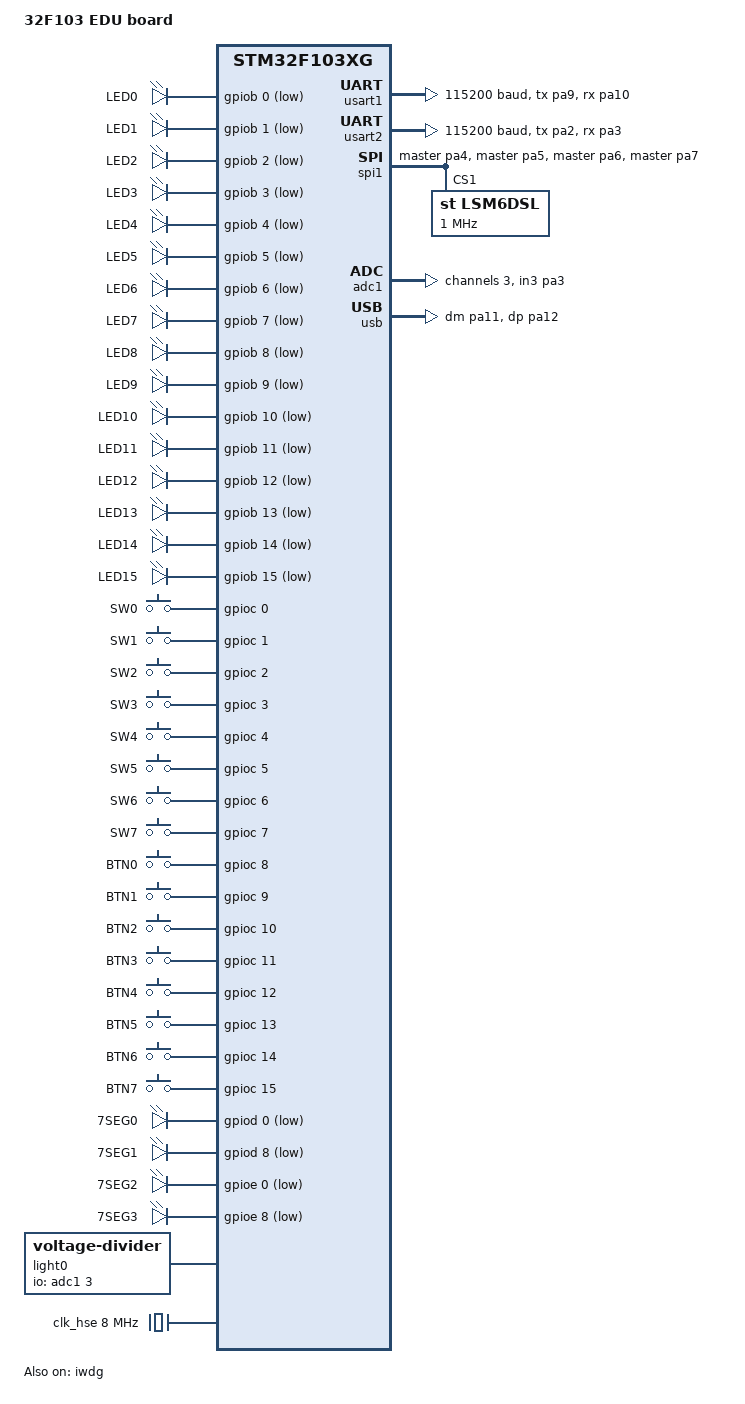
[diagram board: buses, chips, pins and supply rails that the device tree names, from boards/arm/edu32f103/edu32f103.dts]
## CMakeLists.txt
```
cmake_minimum_required(VERSION 3.20.0)

list(APPEND BOARD_ROOT ${CMAKE_CURRENT_SOURCE_DIR})

find_package(Zephyr REQUIRED HINTS $ENV{ZEPHYR_BASE})

project(edu32f103)


target_sources(app PRIVATE src/main.c)
```

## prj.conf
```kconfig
CONFIG_CBPRINTF_FP_SUPPORT=y
CONFIG_LSM6DSL_ENABLE_TEMP=y
CONFIG_THREAD_NAME=y
CONFIG_THREAD_MAX_NAME_LEN=16

CONFIG_THREAD_ANALYZER=y
CONFIG_THREAD_ANALYZER_USE_PRINTK=y
CONFIG_THREAD_ANALYZER_AUTO=y
CONFIG_THREAD_ANALYZER_AUTO_INTERVAL=20
```

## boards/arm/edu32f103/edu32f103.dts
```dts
/*
 * Copyright (c) 2017 Linaro Limited
 *
 * SPDX-License-Identifier: Apache-2.0
 */

/dts-v1/;
#include <st/f1/stm32f103Xg.dtsi>
#include <st/f1/stm32f103v(f-g)tx-pinctrl.dtsi>

/ {
	model = "32F103 EDU board";
	compatible = "edu32f103";

	chosen {
		zephyr,console = &usart1;
		zephyr,shell-uart = &usart1;
		//zephyr,console = &cdc_acm_uart0;
		//zephyr,shell-uart = &cdc_acm_uart0;
		zephyr,sram = &sram0;
		zephyr,flash = &flash0;
	};

	leds {
		compatible = "gpio-leds";
		led0: led_0 {
			gpios = <&gpiob 0 GPIO_ACTIVE_LOW>;
			label = "LED0";
		};
		led1: led_1 {
			gpios = <&gpiob 1 GPIO_ACTIVE_LOW>;
			label = "LED1";
		};
		led2: led_2 {
			gpios = <&gpiob 2 GPIO_ACTIVE_LOW>;
			label = "LED2";
		};
		led3: led_3 {
			gpios = <&gpiob 3 GPIO_ACTIVE_LOW>;
			label = "LED3";
		};
		led4: led_4 {
			gpios = <&gpiob 4 GPIO_ACTIVE_LOW>;
			label = "LED4";
		};
		led5: led_5 {
			gpios = <&gpiob 5 GPIO_ACTIVE_LOW>;
			label = "LED5";
		};
		led6: led_6 {
			gpios = <&gpiob 6 GPIO_ACTIVE_LOW>;
			label = "LED6";
		};
		led7: led_7 {
			gpios = <&gpiob 7 GPIO_ACTIVE_LOW>;
			label = "LED7";
		};
		led8: led_8 {
			gpios = <&gpiob 8 GPIO_ACTIVE_LOW>;
			label = "LED8";
		};
		led9: led_9 {
			gpios = <&gpiob 9 GPIO_ACTIVE_LOW>;
			label = "LED9";
		};
		led10: led_10 {
			gpios = <&gpiob 10 GPIO_ACTIVE_LOW>;
			label = "LED10";
		};
		led11: led_11 {
			gpios = <&gpiob 11 GPIO_ACTIVE_LOW>;
			label = "LED11";
		};
		led12: led_12 {
			gpios = <&gpiob 12 GPIO_ACTIVE_LOW>;
			label = "LED12";
		};
		led13: led_13 {
			gpios = <&gpiob 13 GPIO_ACTIVE_LOW>;
			label = "LED13";
		};
		led14: led_14 {
			gpios = <&gpiob 14 GPIO_ACTIVE_LOW>;
			label = "LED14";
		};
		led15: led_15 {
			gpios = <&gpiob 15 GPIO_ACTIVE_LOW>;
			label = "LED15";
		};
	};

	gpio_keys {
		compatible = "gpio-keys";
		switch0: switch_0 {
			label = "SW0";
			gpios = <&gpioc 0 GPIO_ACTIVE_HIGH>;
		};
		switch1: switch_1 {
			label = "SW1";
			gpios = <&gpioc 1 GPIO_ACTIVE_HIGH>;
		};
		switch2: switch_2 {
			label = "SW2";
			gpios = <&gpioc 2 GPIO_ACTIVE_HIGH>;
		};
		switch3: switch_3 {
			label = "SW3";
			gpios = <&gpioc 3 GPIO_ACTIVE_HIGH>;
		};
		switch4: switch_4 {
			label = "SW4";
			gpios = <&gpioc 4 GPIO_ACTIVE_HIGH>;
		};
		switch5: switch_5 {
			label = "SW5";
			gpios = <&gpioc 5 GPIO_ACTIVE_HIGH>;
		};
		switch6: switch_6 {
			label = "SW6";
			gpios = <&gpioc 6 GPIO_ACTIVE_HIGH>;
		};
		switch7: switch_7 {
			label = "SW7";
			gpios = <&gpioc 7 GPIO_ACTIVE_HIGH>;
		};
		button0: button_0 {
			label = "BTN0";
			gpios = <&gpioc 8 GPIO_ACTIVE_HIGH>;
		};
		button1: button_1 {
			label = "BTN1";
			gpios = <&gpioc 9 GPIO_ACTIVE_HIGH>;
		};
		button2: button_2 {
			label = "BTN2";
			gpios = <&gpioc 10 GPIO_ACTIVE_HIGH>;
		};
		button3: button_3 {
			label = "BTN3";
			gpios = <&gpioc 11 GPIO_ACTIVE_HIGH>;
		};
		button4: button_4 {
			label = "BTN4";
			gpios = <&gpioc 12 GPIO_ACTIVE_HIGH>;
		};
		button5: button_5 {
			label = "BTN5";
			gpios = <&gpioc 13 GPIO_ACTIVE_HIGH>;
		};
		button6: button_6 {
			label = "BTN6";
			gpios = <&gpioc 14 GPIO_ACTIVE_HIGH>;
		};
		button7: button_7 {
			label = "BTN7";
			gpios = <&gpioc 15 GPIO_ACTIVE_HIGH>;
		};
	};

	seven_segments {
		compatible = "gpio-leds";
		sevensegment0: seven_segment_0 {
			label = "7SEG0";
			gpios = <&gpiod 0 GPIO_ACTIVE_LOW>,
				<&gpiod 1 GPIO_ACTIVE_LOW>,
				<&gpiod 2 GPIO_ACTIVE_LOW>,
				<&gpiod 3 GPIO_ACTIVE_LOW>,
				<&gpiod 4 GPIO_ACTIVE_LOW>,
				<&gpiod 5 GPIO_ACTIVE_LOW>,
				<&gpiod 6 GPIO_ACTIVE_LOW>,
				<&gpiod 7 GPIO_ACTIVE_LOW>;
		};
		sevensegment1: seven_segment_1 {
			label = "7SEG1";
			gpios = <&gpiod 8 GPIO_ACTIVE_LOW>,
				<&gpiod 9 GPIO_ACTIVE_LOW>,
				<&gpiod 10 GPIO_ACTIVE_LOW>,
				<&gpiod 11 GPIO_ACTIVE_LOW>,
				<&gpiod 12 GPIO_ACTIVE_LOW>,
				<&gpiod 13 GPIO_ACTIVE_LOW>,
				<&gpiod 14 GPIO_ACTIVE_LOW>,
				<&gpiod 15 GPIO_ACTIVE_LOW>;
		};
		sevensegment2: seven_segment_2 {
			label = "7SEG2";
			gpios = <&gpioe 0 GPIO_ACTIVE_LOW>,
				<&gpioe 1 GPIO_ACTIVE_LOW>,
				<&gpioe 2 GPIO_ACTIVE_LOW>,
				<&gpioe 3 GPIO_ACTIVE_LOW>,
				<&gpioe 4 GPIO_ACTIVE_LOW>,
				<&gpioe 5 GPIO_ACTIVE_LOW>,
				<&gpioe 6 GPIO_ACTIVE_LOW>,
				<&gpioe 7 GPIO_ACTIVE_LOW>;
		};
		sevensegment3: seven_segment_3 {
			label = "7SEG3";
			gpios = <&gpioe 8 GPIO_ACTIVE_LOW>,
				<&gpioe 9 GPIO_ACTIVE_LOW>,
				<&gpioe 10 GPIO_ACTIVE_LOW>,
				<&gpioe 11 GPIO_ACTIVE_LOW>,
				<&gpioe 12 GPIO_ACTIVE_LOW>,
				<&gpioe 13 GPIO_ACTIVE_LOW>,
				<&gpioe 14 GPIO_ACTIVE_LOW>,
				<&gpioe 15 GPIO_ACTIVE_LOW>;
		};
	};

	light0 {
				compatible = "voltage-divider";
				io-channels = <&adc1 3>;
				output-ohms = <100000>;
				status = "okay";
	};

	aliases {
		led0 = &led0;
		led1 = &led1;
		led2 = &led2;
		led3 = &led3;
		led4 = &led4;
		led5 = &led5;
		led6 = &led6;
		led7 = &led7;
		led8 = &led8;
		led9 = &led9;
		led10 = &led10;
		led11 = &led11;
		led12 = &led12;
		led13 = &led13;
		led14 = &led14;
		led15 = &led15;
		sw0 = &switch0;
		sw1 = &switch1;
		sw2 = &switch2;
		sw3 = &switch3;
		sw4 = &switch4;
		sw5 = &switch5;
		sw6 = &switch6;
		sw7 = &switch7;
		btn0 = &button0;
		btn1 = &button1;
		btn2 = &button2;
		btn3 = &button3;
		btn4 = &button4;
		btn5 = &button5;
		btn6 = &button6;
		btn7 = &button7;
		sevenseg0 = &sevensegment0;
		sevenseg1 = &sevensegment1;
		sevenseg2 = &sevensegment2;
		sevenseg3 = &sevensegment3;
		accel0 = &lsm6dsl;
	};
};

&clk_hse {
	clock-frequency = <DT_FREQ_M(8)>; /* 8MHz oscillator */
	status = "okay";
};

&pll {
	mul = <9>;
	clocks = <&clk_hse>;
	status = "okay";
};

&rcc {
	clocks = <&pll>;
	clock-frequency = <DT_FREQ_M(72)>;
	ahb-prescaler = <1>;
	apb1-prescaler = <2>;
	apb2-prescaler = <1>;
};

&usart1 {
	pinctrl-0 = <&usart1_tx_pa9 &usart1_rx_pa10>;
	pinctrl-names = "default";
	current-speed = <115200>;
	status = "okay";
};

&usart2 {
	pinctrl-0 = <&usart2_tx_pa2 &usart2_rx_pa3>;
	pinctrl-names = "default";
	current-speed = <115200>;
	status = "okay";
};

&spi1 {
	pinctrl-0 = <&spi1_nss_master_pa4 &spi1_sck_master_pa5
               &spi1_miso_master_pa6 &spi1_mosi_master_pa7>;
	pinctrl-names = "default";
	status = "okay";

	/* ST Microelectronics LSM6DSL accel/gyro sensor */
	lsm6dsl: lsm6dsl@1 {
		compatible = "st,lsm6dsl";
		reg = <1>;
		spi-max-frequency = <1000000>;
	};
};


&iwdg {
	status = "okay";
};

&adc1 {
	pinctrl-0 = <&adc1_in3_pa3>;
	pinctrl-names = "default";
	status = "okay";
	#address-cells = <1>;
	#size-cells = <0>;

	channel@3 {
		reg = <3>;
		zephyr,gain = "ADC_GAIN_1";
		zephyr,reference = "ADC_REF_INTERNAL";
		zephyr,acquisition-time = <ADC_ACQ_TIME_MAX>;
		zephyr,resolution = <12>;
	};
};


&dma1 {
	status = "okay";
};

zephyr_udc0: &usb {
	pinctrl-0 = <&usb_dm_pa11 &usb_dp_pa12>;
	pinctrl-names = "default";
	status = "okay";
};

&zephyr_udc0 {
	cdc_acm_uart0: cdc_acm_uart0 {
		compatible = "zephyr,cdc-acm-uart";
	};
};

&flash0 {
	partitions {
		compatible = "fixed-partitions";
		#address-cells = <1>;
		#size-cells = <1>;

		/* Set 2KB of storage at the end of 1024KB flash */
		storage_partition: partition@1f800 {
			label = "storage";
			reg = <0x000ff800 0x00000800>;
		};
	};
};

&pinctrl {
	/* Free up PB3/PB4 (LED4/LED5) by disabling JTAG debugging */
//	swj-cfg = "jtag-disable";
};
```

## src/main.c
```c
#include <zephyr/kernel.h>
#include <zephyr/drivers/adc.h>
#include <zephyr/drivers/gpio.h>
#include <zephyr/drivers/sensor.h>

#define SLEEP_TIME_MS 100

// Active high
static const int sevensegLUT[] = {0x3F, 0x06, 0x5B, 0x4F, 0x66, 0x6D, 0x7D, 0x07, 0x7F, 0x6F, 0x77, 0x7C, 0x39, 0x5E, 0x79, 0x71};

void display_show_value(uint16_t i);
void display_average(void);
void store_button_press_time(volatile int *store_to);
int number_of_toggled_switches(void);
bool is_signal_time(int number_of_switches);
void user_pressed_button(void);
void turn_off_leds(void);
void turn_on_leds(void);
void reset_state(void);

#define SWITCHES_PRIO 4
#define LED_PRIO 2
#define STACK_SIZE 256
#define RESULT_SIZE 10

const int k_min_ms_before_signal = 3000;
const int k_min_ms_before_signal_per_switch = 300;

static volatile int g_results[RESULT_SIZE] = {0};
static volatile int g_ticks_when_test_started = 0;
static volatile int g_ticks_when_signal_fired = 0;
static volatile int g_ticks_when_user_pressed = 0;
static volatile int g_number_of_switches = 0;
static volatile bool g_should_blink_leds = false;

void led_blinking_task(void);
K_THREAD_DEFINE(led_blinking_task_id, STACK_SIZE, led_blinking_task, NULL, NULL, NULL, LED_PRIO, 0, 0);

void switches_task(void);
K_THREAD_DEFINE(switches_task_id, STACK_SIZE, switches_task, NULL, NULL, NULL, SWITCHES_PRIO, 0, 0);

static struct gpio_callback button_pressed_cb_data;
static void button_pressed(const struct device *dev, struct gpio_callback *cb, unsigned int pins);

int init(void);

int main(void)
{
    if (init() < 0)
    {
        return -1;
    }

    display_show_value(0);
    turn_off_leds();
    printk("Initialization complete\n");

    while (true)
    {
        if (g_ticks_when_test_started == 0 || g_ticks_when_signal_fired != 0)
        {
            k_msleep(SLEEP_TIME_MS);
            continue;
        }

        printk("Test started. Ticks: %i\n", g_ticks_when_test_started);
        g_should_blink_leds = true;

        printk("%i toggled switches at start\n", number_of_toggled_switches());

        while (g_ticks_when_signal_fired != 0 || !is_signal_time(number_of_toggled_switches()))
            k_msleep(10);

        g_ticks_when_signal_fired = k_uptime_get();
        printk("Firing signal at ticks: %i\n", g_ticks_when_signal_fired);
        // light up all LEDs
        g_should_blink_leds = false;
        turn_on_leds();
    }
}

void store_result(int result)
{
    for (int i = 0; i < RESULT_SIZE; i++)
    {
        if (g_results[i] == 0)
        {
            g_results[i] = result;
            break;
        }
    }
}

void display_average()
{
    printk("Displaying average\n");

    int sum = 0;
    int count = 0;
    for (int i = 0; i < RESULT_SIZE; i++)
    {
        if (g_results[i] == 0)
            break;
        sum += g_results[i];
        ++count;
    }

    if (count == 0)
    {
        printk("No results to display\n");
        return;
    }

    printk("Sum: %i\n", sum);

    const int average = sum / count;

    printk("Average: %i\n", average);

    display_show_value(average);
}

void store_button_press_time(volatile int *store_to)
{
    const int time = k_uptime_get();
    const int BOUNCE_DELAY = 300;
    const int delta = time - *store_to;
    if (delta < BOUNCE_DELAY)
        return; // button probably activated twice

    *store_to = time;
}

void switches_task(void)
{
    k_thread_name_set(k_current_get(), "Switches task");
    printk("Switches task started\n");

    while (true)
    {
        g_number_of_switches = number_of_toggled_switches();
        k_msleep(100);
    }
}

bool is_signal_time(int number_of_switches)
{
    const bool random_validated = rand() < RAND_MAX / 100;
    const int minimum = k_min_ms_before_signal + number_of_switches * k_min_ms_before_signal_per_switch;

    const int elapsed = k_uptime_get() - g_ticks_when_test_started;

    return random_validated && elapsed > minimum;
}

void user_pressed_button(void)
{
    if (g_ticks_when_signal_fired == 0)
        // the user pressed the button too early
        return;

    store_button_press_time(&g_ticks_when_user_pressed);
    printk("User pressed the button. Ticks: %i\n", g_ticks_when_user_pressed);

    const int reaction_time = g_ticks_when_user_pressed - g_ticks_when_signal_fired;
    printk("Reaction time: %i\n", reaction_time);

    store_result(reaction_time);

    reset_state();
    display_show_value(reaction_time);
}

void reset_state(void)
{
    turn_off_leds();
    display_show_value(0);
    g_should_blink_leds = false;
    g_ticks_when_signal_fired = 0;
    g_ticks_when_user_pressed = 0;
    g_ticks_when_test_started = 0;
}

/* HARDWARE FUNCTIONS */

static const struct device *port_io = DEVICE_DT_GET(DT_NODELABEL(gpioa));
static const struct device *port_led = DEVICE_DT_GET(DT_NODELABEL(gpiob));
static const struct device *port_swbtn = DEVICE_DT_GET(DT_NODELABEL(gpioc));
static const struct device *port_7seg01 = DEVICE_DT_GET(DT_NODELABEL(gpiod));
static const struct device *port_7seg23 = DEVICE_DT_GET(DT_NODELABEL(gpioe));

#define GPIO_DT_SPEC_GET_GPIOS(child) GPIO_DT_SPEC_GET(child, gpios)

#define CHILD_COUNT(child) 1 +
#define PROP_COUNT(node, prop, idx) 1 +

#define LEDS_COUNT (DT_FOREACH_CHILD(DT_PATH(leds), CHILD_COUNT) 0)
static const struct gpio_dt_spec leds[LEDS_COUNT] = {
    DT_FOREACH_CHILD_SEP(DT_PATH(leds), GPIO_DT_SPEC_GET_GPIOS, (, ))};

#define KEYS_COUNT (DT_FOREACH_CHILD(DT_PATH(gpio_keys), CHILD_COUNT) 0)
static const struct gpio_dt_spec keys[KEYS_COUNT] = {
    DT_FOREACH_CHILD_SEP(DT_PATH(gpio_keys), GPIO_DT_SPEC_GET_GPIOS, (, ))};

// unfortunately, switches and buttons are on the same port
#define SWITCHES_START 0
#define SWITCHES_END 8
#define BUTTONS_START 8
#define BUTTONS_END 16

#define SEVENSEGMENT0_PINS_COUNT (DT_FOREACH_PROP_ELEM(DT_NODELABEL(sevensegment0), gpios, PROP_COUNT) 0)
static const struct gpio_dt_spec sevensegment0[SEVENSEGMENT0_PINS_COUNT] = {
    DT_FOREACH_PROP_ELEM_SEP(DT_NODELABEL(sevensegment0), gpios, GPIO_DT_SPEC_GET_BY_IDX, (, )),
};

#define SEVENSEGMENT1_PINS_COUNT (DT_FOREACH_PROP_ELEM(DT_NODELABEL(sevensegment1), gpios, PROP_COUNT) 0)
static const struct gpio_dt_spec sevensegment1[SEVENSEGMENT1_PINS_COUNT] = {
    DT_FOREACH_PROP_ELEM_SEP(DT_NODELABEL(sevensegment1), gpios, GPIO_DT_SPEC_GET_BY_IDX, (, )),
};

#define SEVENSEGMENT2_PINS_COUNT (DT_FOREACH_PROP_ELEM(DT_NODELABEL(sevensegment2), gpios, PROP_COUNT) 0)
static const struct gpio_dt_spec sevensegment2[SEVENSEGMENT2_PINS_COUNT] = {
    DT_FOREACH_PROP_ELEM_SEP(DT_NODELABEL(sevensegment2), gpios, GPIO_DT_SPEC_GET_BY_IDX, (, )),
};

#define SEVENSEGMENT3_PINS_COUNT (DT_FOREACH_PROP_ELEM(DT_NODELABEL(sevensegment3), gpios, PROP_COUNT) 0)
static const struct gpio_dt_spec sevensegment3[SEVENSEGMENT3_PINS_COUNT] = {
    DT_FOREACH_PROP_ELEM_SEP(DT_NODELABEL(sevensegment3), gpios, GPIO_DT_SPEC_GET_BY_IDX, (, )),
};

int init(void)
{
    int ret = 0;

    if (!device_is_ready(port_io) || !device_is_ready(port_led) || !device_is_ready(port_swbtn) || !device_is_ready(port_7seg01) || !device_is_ready(port_7seg23))
    {
        return 1;
    }

    for (size_t i = 0; i < LEDS_COUNT; i++)
    {
        ret += gpio_pin_configure_dt(leds + i, GPIO_OUTPUT_ACTIVE);
    }
    for (size_t i = 0; i < KEYS_COUNT; i++)
    {
        ret += gpio_pin_configure_dt(keys + i, GPIO_INPUT);
        ret += gpio_pin_interrupt_configure_dt(keys + i, GPIO_INT_EDGE_TO_ACTIVE);
    }
    for (size_t i = 0; i < SEVENSEGMENT0_PINS_COUNT; i++)
    {
        ret += gpio_pin_configure_dt(sevensegment0 + i, GPIO_OUTPUT_ACTIVE);
    }
    for (size_t i = 0; i < SEVENSEGMENT1_PINS_COUNT; i++)
    {
        ret += gpio_pin_configure_dt(sevensegment1 + i, GPIO_OUTPUT_ACTIVE);
    }
    for (size_t i = 0; i < SEVENSEGMENT2_PINS_COUNT; i++)
    {
        ret += gpio_pin_configure_dt(sevensegment2 + i, GPIO_OUTPUT_ACTIVE);
    }
    for (size_t i = 0; i < SEVENSEGMENT3_PINS_COUNT; i++)
    {
        ret += gpio_pin_configure_dt(sevensegment3 + i, GPIO_OUTPUT_ACTIVE);
    }

    // interrupt
    gpio_init_callback(&button_pressed_cb_data, button_pressed,
                       BIT(BUTTONS_START + 1) |
                           BIT(BUTTONS_START + 2) |
                           BIT(BUTTONS_START + 4));
    gpio_add_callback(port_swbtn, &button_pressed_cb_data);

    // this is not a good seed, but it's good enough for this project
    // using the accelerometer and light sensor would be better I guesss
    srand(k_uptime_get());

    return ret;
}

int number_of_toggled_switches()
{
    int count = 0;
    for (size_t i = SWITCHES_START; i < SWITCHES_END; ++i)
        count += gpio_pin_get(port_swbtn, i);
    return count;
}

void turn_off_leds()
{
    for (size_t i = 0; i < LEDS_COUNT; i++)
        gpio_pin_set(port_led, leds[i].pin, 0);
}

void turn_on_leds()
{
    for (size_t i = 0; i < LEDS_COUNT; i++)
        gpio_pin_set(port_led, leds[i].pin, 1);
}

void turn_on_one_led_out_of_two(int start)
{
    turn_off_leds();
    for (size_t i = start; i < LEDS_COUNT; i += 2)
        gpio_pin_set(port_led, leds[i].pin, 1);
}

void led_blinking_task(void)
{
    k_thread_name_set(k_current_get(), "LED blinking task");
    printk("LED blinking task started\n");

    int i = 0;
    while (true)
    {
        if (!g_should_blink_leds)
        {
            k_msleep(100);
            continue;
        }

        turn_on_one_led_out_of_two(i);
        k_msleep(500);
        i = (i + 1) % 2;
    }
}

static void button_pressed(const struct device *dev, struct gpio_callback *cb, unsigned int pins)
{
    if (pins & BIT(BUTTONS_START + 1))
        store_button_press_time(&g_ticks_when_test_started);

    else if (pins & BIT(BUTTONS_START + 2))
        display_average();

    else if (pins & BIT(BUTTONS_START + 4))
        user_pressed_button();
}

void display_show_value(uint16_t i)
{
    gpio_port_set_masked(port_7seg01, 0x00FF, sevensegLUT[i % 10]);
    gpio_port_set_masked(port_7seg01, 0xFF00, sevensegLUT[(i / 10) % 10] << 8);
    gpio_port_set_masked(port_7seg23, 0x00FF, sevensegLUT[(i / 100) % 10]);
    gpio_port_set_masked(port_7seg23, 0xFF00, sevensegLUT[(i / 1000) % 10] << 8);
}
```
